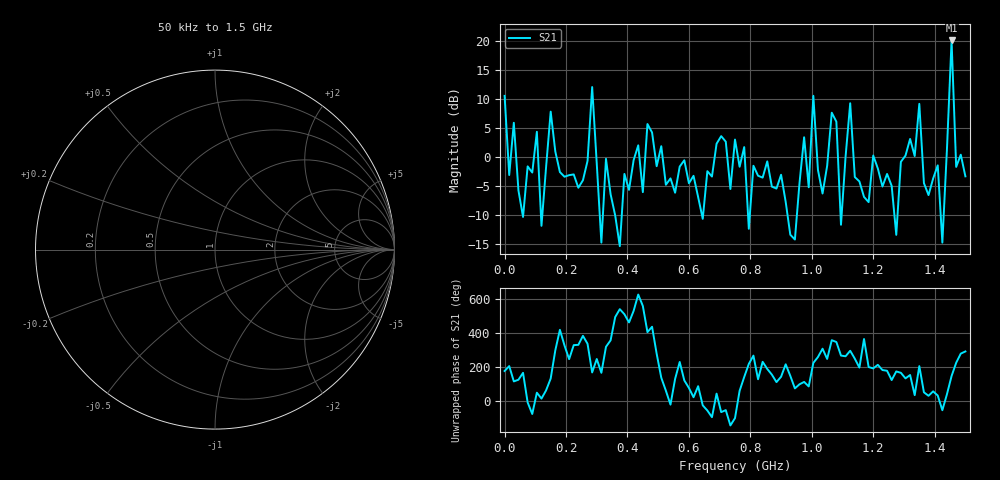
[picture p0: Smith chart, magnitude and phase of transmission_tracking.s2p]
! Created with skrf 1.8.0 (http://scikit-rf.org).
# Hz S RI R 50.0
!freq ReS11 ImS11 ReS21 ImS21 ReS12 ImS12 ReS22 ImS22
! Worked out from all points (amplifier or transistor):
!   101 points, 50 kHz to 1.5 GHz, reference 50 ohm
!   highest |S21| = 20.0 dB at 1.455 GHz (marker M1)
!   |S21| within 3 dB of that: 1.452595 GHz to 1.457065 GHz (4.47 MHz wide, 0.307 % of centre)
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50000  0 0  -3.331 0.2759  0 0  0 0
7.50475e7  0 0  0.808 -0.1618  0 0  0 0
1.50045e8  0 0  -1.588 1.856  0 0  0 0
1.650445e8  0 0  0.5127 -0.9827  0 0  0 0
2.550415e8  0 0  0.5714 0.2538  0 0  0 0
2.70041e8  0 0  0.8431 -0.3648  0 0  0 0
2.850405e8  0 0  -3.873 0.9117  0 0  0 0
3.30039e8  0 0  0.7209 -0.6312  0 0  0 0
5.10033e8  0 0  -0.8765 0.8627  0 0  0 0
7.50025e8  0 0  -0.3472 -1.36  0 0  0 0
9.750175e8  0 0  -0.5129 1.376  0 0  0 0
1.005016e9  0 0  -2.437 -2.294  0 0  0 0
1.065014e9  0 0  2.391 -0.0837  0 0  0 0
1.125012e9  0 0  1.238 -2.605  0 0  0 0
1.260008e9  0 0  -0.2923 0.4771  0 0  0 0
1.335006e9  0 0  0.8586 0.5346  0 0  0 0
1.350005e9  0 0  -2.598 -1.173  0 0  0 0
1.365004e9  0 0  0.3899 0.4442  0 0  0 0
1.440002e9  0 0  0.9225 0.713  0 0  0 0
1.455002e9  0 0  -8.251 5.715  0 0  0 0
1.470001e9  0 0  -0.5853 -0.5669  0 0  0 0
1.5e9  0 0  0.245 -0.6298  0 0  0 0
